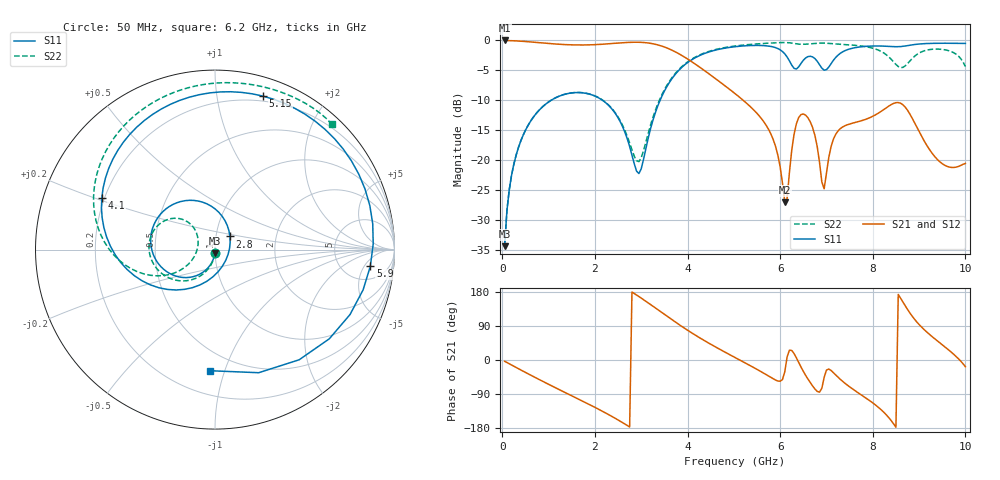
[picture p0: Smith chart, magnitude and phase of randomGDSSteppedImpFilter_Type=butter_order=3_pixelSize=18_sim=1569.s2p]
! freq	dB(S11)	phase(S11)	dB(S12)	phase(S12)
!  dB(S21)	phase(S21)	dB(S22)	phase(S22)
!S-par simulation data
#  GHz  S  DB  R 50
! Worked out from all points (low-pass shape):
!   200 points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, 50 MHz to 10 GHz, reference 50 ohm
!   highest |S21| = -0.01 dB at 50 MHz (marker M1); lowest = -26.9 dB at 6.1 GHz (marker M2)
!   |S21| within 3 dB of the highest: start of sweep to 3.983 GHz
!   lowest |S11| = -34.3 dB at 50 MHz (marker M3), VSWR 1.04, Z = 49.9 - j1.92 ohm
!   |S11| at or under -10 dB: start of sweep to 1.051 GHz; 2.167 GHz to 3.406 GHz (1.239 GHz wide, 44.5 % of centre)
!   |S22| runs from -34.3 to -0.4 dB; largest |S21 - S12| = 0
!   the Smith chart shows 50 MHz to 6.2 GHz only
!   S11 on the Smith chart (normalised r, x): 50 MHz: 1.00, -0.04; 2.8 GHz: 1.17, +0.17; 4.1 GHz: 0.19, +0.21; 5.15 GHz: 0.16, +1.35; 5.9 GHz: 9, -7; 6.2 GHz: 0.36, -0.89
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0.05  -34.29 -92.8  -0.01 -3.4  -0.01 -3.4  -34.29 -92.5
0.5  -14.98 -125.4  -0.19 -32.8  -0.19 -32.8  -14.97 -121.1
1.75  -8.75 150.8  -0.76 -109.5  -0.76 -109.5  -8.73 169.6
2.8  -19.10 41.3  -0.31 179.4  -0.31 179.4  -18.23 142.6
3.4  -10.11 -133.9  -0.84 129.1  -0.84 129.1  -9.82 -153.4
4.1  -3.18 155.4  -3.60 70.8  -3.60 70.8  -3.08 163.1
5.05  -1.03 80.5  -9.01 5.0  -9.01 5.0  -0.91 107.3
5.15  -0.95 72.7  -9.64 -1.5  -9.64 -1.5  -0.82 101.9
5.9  -1.20 -6.1  -17.65 -52.9  -17.65 -52.9  -0.40 63.1
6.1  -2.24 -52.6  -26.95 -31.1  -26.95 -31.1  -0.36 52.4
6.2  -3.41 -92.4  -22.02 25.9  -22.02 25.9  -0.40 46.9
6.35  -4.77 174.2  -13.91 5.8  -13.91 5.8  -0.57 39.2
6.5  -3.31 87.2  -12.26 -29.9  -12.26 -29.9  -0.65 32.7
6.7  -2.75 7.8  -14.51 -68.3  -14.51 -68.3  -0.54 23.3
6.9  -4.62 -89.4  -23.58 -74.7  -23.58 -74.7  -0.44 12.3
7.05  -4.44 -179.7  -19.51 -23.8  -19.51 -23.8  -0.50 3.6
7.4  -1.71 80.8  -14.22 -61.5  -14.22 -61.5  -0.70 -16.6
8.35  -1.00 6.4  -10.93 -152.7  -10.93 -152.7  -2.78 -120.9
8.55  -1.05 -1.3  -10.36 173.0  -10.36 173.0  -4.35 174.1
8.8  -0.80 -9.9  -12.26 124.3  -12.26 124.3  -3.44 73.4
9.25  -0.50 -26.8  -18.47 64.9  -18.47 64.9  -1.51 -13.8
10  -0.51 -50.3  -20.51 -17.8  -20.51 -17.8  -4.36 -113.9
